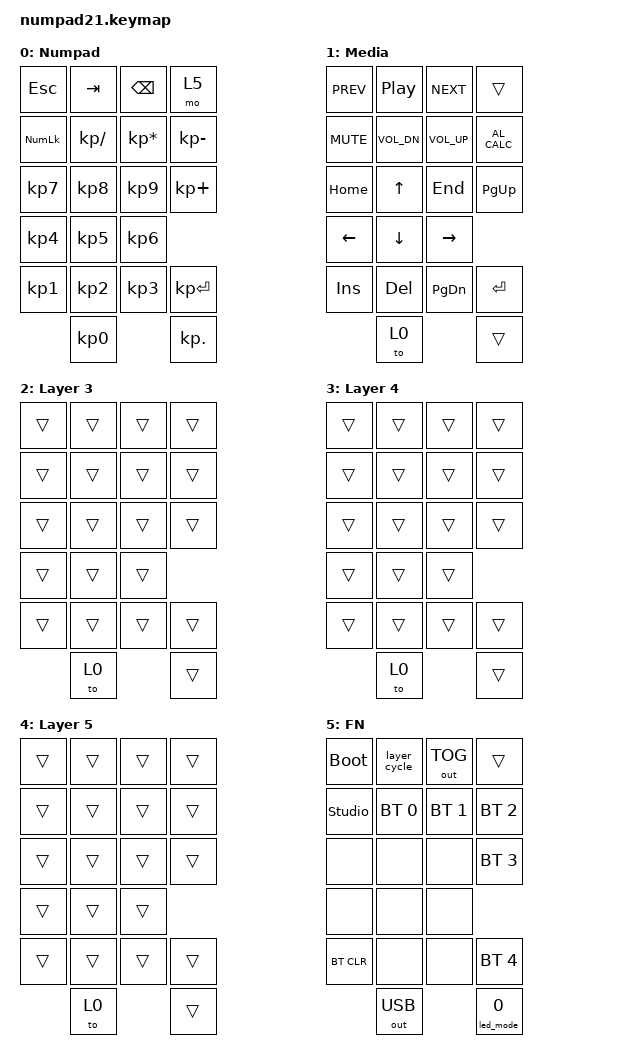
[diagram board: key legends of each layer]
#include <behaviors.dtsi>
#include <dt-bindings/zmk/keys.h>
#include <dt-bindings/zmk/bt.h>
#include <dt-bindings/zmk/outputs.h>

/*
 * 6 layer: 0 Numpad, 1 Media, 2-4 trong (gan bang ZMK Studio), 5 FN.
 * FN o tren cung (index 5) nen luon de len cac layer khac: giu FN thi cac phim FN luon hoat dong.
 *
 * Thu tu 21 phim trong moi layer (tren xuong, trai sang phai):
 *   ESC  TAB  BSPC FN
 *   NUM  /    *    -
 *   7    8    9
 *   4    5    6    +
 *   1    2    3    ENTER
 *   0    .
 *
 * FN layer (layer 5, giu phim FN):
 *   Hang tren : bootloader | chuyen layer (Numpad>Media>L3>L4>L5) | doi USB/BLE | -
 *   Hang 2    : Studio unlock | BT0 | BT1 | BT2
 *   '.'       : chuyen che do LED ke tiep (1..9, vong lai)
 *   +  = BT3,  ENTER = BT4,  0 = ep dung USB,  1 = xoa ghep doi BT
 */

/ {
    keymap {
        compatible = "zmk,keymap";

        default_layer {
            display-name = "Numpad";
            bindings = <
                &kp ESC    &kp TAB    &kp BSPC   &mo 5
                &kp KP_NUMLOCK &kp KP_SLASH &kp KP_MULTIPLY &kp KP_MINUS
                &kp KP_N7  &kp KP_N8  &kp KP_N9
                &kp KP_N4  &kp KP_N5  &kp KP_N6  &kp KP_PLUS
                &kp KP_N1  &kp KP_N2  &kp KP_N3  &kp KP_ENTER
                &kp KP_N0  &kp KP_DOT
            >;
        };

        media_layer {
            display-name = "Media";
            bindings = <
                &kp C_PREV  &kp C_PP      &kp C_NEXT   &trans
                &kp C_MUTE  &kp C_VOL_DN  &kp C_VOL_UP &kp C_AL_CALC
                &kp HOME    &kp UP        &kp END
                &kp LEFT    &kp DOWN      &kp RIGHT    &kp PG_UP
                &kp INS     &kp DEL       &kp PG_DN    &kp RET
                &to 0       &trans
            >;
        };

        layer_3 {
            display-name = "Layer 3";
            bindings = <
                &trans  &trans  &trans  &trans
                &trans  &trans  &trans  &trans
                &trans  &trans  &trans
                &trans  &trans  &trans  &trans
                &trans  &trans  &trans  &trans
                &to 0   &trans
            >;
        };

        layer_4 {
            display-name = "Layer 4";
            bindings = <
                &trans  &trans  &trans  &trans
                &trans  &trans  &trans  &trans
                &trans  &trans  &trans
                &trans  &trans  &trans  &trans
                &trans  &trans  &trans  &trans
                &to 0   &trans
            >;
        };

        layer_5 {
            display-name = "Layer 5";
            bindings = <
                &trans  &trans  &trans  &trans
                &trans  &trans  &trans  &trans
                &trans  &trans  &trans
                &trans  &trans  &trans  &trans
                &trans  &trans  &trans  &trans
                &to 0   &trans
            >;
        };

        fn_layer {
            display-name = "FN";
            bindings = <
                &bootloader    &layer_cycle   &out OUT_TOG   &trans
                &studio_unlock &bt BT_SEL 0   &bt BT_SEL 1   &bt BT_SEL 2
                &none          &none          &none
                &none          &none          &none          &bt BT_SEL 3
                &bt BT_CLR     &none          &none          &bt BT_SEL 4
                &out OUT_USB   &led_mode 0
            >;
        };
    };
};
